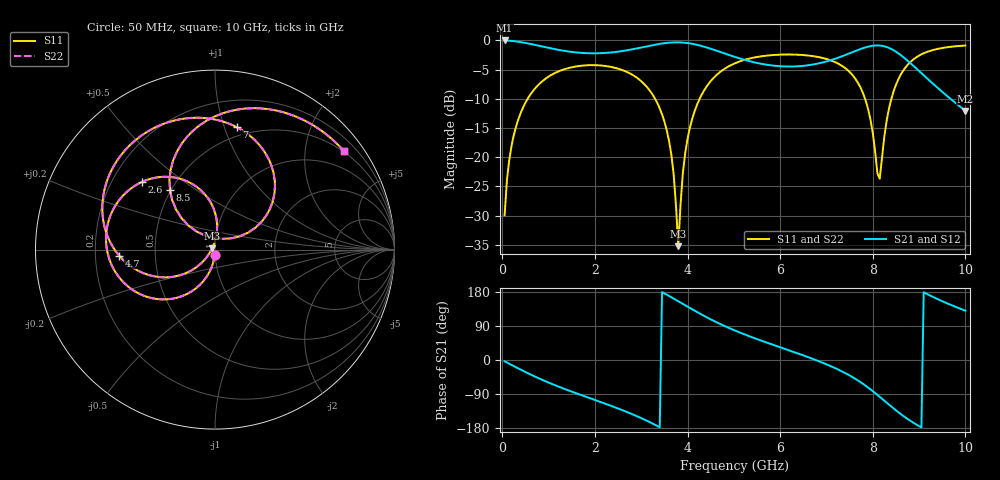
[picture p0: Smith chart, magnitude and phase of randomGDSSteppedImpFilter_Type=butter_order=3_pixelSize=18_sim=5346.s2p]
! freq	dB(S11)	phase(S11)	dB(S12)	phase(S12)
!  dB(S21)	phase(S21)	dB(S22)	phase(S22)
!S-par simulation data
#  GHz  S  DB  R 50
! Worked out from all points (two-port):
!   200 points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, 50 MHz to 10 GHz, reference 50 ohm
!   highest |S21| = -0.01 dB at 50 MHz (marker M1); lowest = -12.1 dB at 10 GHz (marker M2)
!   |S21| within 3 dB of the highest: start of sweep to 5.095 GHz; 7.235 GHz to 8.683 GHz (1.448 GHz wide, 18.2 % of centre)
!   lowest |S11| = -35.2 dB at 3.8 GHz (marker M3), VSWR 1.04, Z = 48.4 + j0.682 ohm
!   |S11| at or under -10 dB: start of sweep to 547.3 MHz; 3.3 GHz to 4.262 GHz (961.9 MHz wide, 25.4 % of centre); 7.833 GHz to 8.401 GHz (568.6 MHz wide, 7 % of centre)
!   |S22| runs from -35.3 to -0.9 dB; largest |S21 - S12| = 0
!   S11 on the Smith chart (normalised r, x): 50 MHz: 0.99, -0.06; 2.6 GHz: 0.32, +0.35; 4.7 GHz: 0.30, -0.03; 7 GHz: 0.42, +1.10; 8.5 GHz: 0.49, +0.40; 10 GHz: 0.48, +2.89
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0.05  -29.93 -93.4  -0.01 -3.3  -0.01 -3.3  -29.93 -93.4
0.2  -18.04 -103.6  -0.09 -13.1  -0.09 -13.1  -18.04 -103.6
0.5  -10.66 -122.3  -0.44 -31.8  -0.44 -31.8  -10.66 -122.3
1.05  -5.95 -152.6  -1.36 -62.1  -1.36 -62.1  -5.95 -152.6
1.75  -4.30 175.1  -2.16 -94.5  -2.16 -94.5  -4.30 175.1
2.6  -5.10 137.4  -1.81 -132.7  -1.81 -132.7  -5.10 137.4
3.4  -11.64 95.1  -0.59 -177.5  -0.59 -177.5  -11.64 95.0
3.65  -19.54 84.0  -0.36 165.7  -0.36 165.7  -19.54 83.9
3.8  -35.22 156.0  -0.33 155.1  -0.33 155.1  -35.26 156.1
3.9  -22.64 -136.1  -0.37 148.0  -0.37 148.0  -22.64 -136.1
4.05  -14.98 -138.7  -0.51 137.4  -0.51 137.4  -14.98 -138.7
4.7  -5.43 -176.5  -1.96 95.3  -1.96 95.3  -5.43 -176.5
5.05  -3.83 165.4  -2.90 76.5  -2.90 76.5  -3.83 165.4
5.95  -2.45 125.7  -4.39 35.7  -4.39 35.7  -2.45 125.7
6.7  -2.68 94.0  -4.14 3.2  -4.14 3.2  -2.68 94.1
7  -3.18 80.0  -3.60 -11.3  -3.60 -11.3  -3.18 80.1
7.75  -8.32 36.7  -1.44 -59.6  -1.44 -59.6  -8.32 36.8
8.15  -23.68 98.1  -0.88 -97.2  -0.88 -97.2  -23.52 97.7
8.35  -11.67 136.7  -1.28 -117.8  -1.28 -117.8  -11.66 136.4
8.5  -7.61 127.1  -1.93 -132.9  -1.93 -132.9  -7.61 126.9
9.15  -2.04 80.7  -6.33 175.6  -6.33 175.6  -2.04 80.7
10  -0.88 37.4  -12.06 130.1  -12.06 130.1  -0.88 37.3
